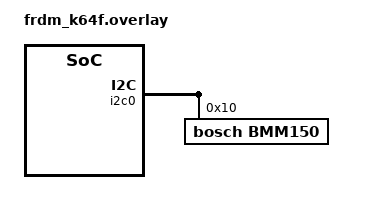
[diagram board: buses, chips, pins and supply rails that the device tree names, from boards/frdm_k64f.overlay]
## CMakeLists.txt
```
# SPDX-License-Identifier: Apache-2.0

cmake_minimum_required(VERSION 3.13.1)
find_package(Zephyr REQUIRED HINTS $ENV{ZEPHYR_BASE})
project(bmm150)

FILE(GLOB app_sources src/*.c)
target_sources(app PRIVATE ${app_sources})
```

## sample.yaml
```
sample:
  name: BMM150 Sensor Sample
tests:
  sample.sensor.bmm150:
    harness: sensor
    tags: sensors
    depends_on: gpio i2c
    filter: dt_compat_enabled("bosch,bmm150")
```

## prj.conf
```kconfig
CONFIG_STDOUT_CONSOLE=y
CONFIG_PRINTK=y
CONFIG_I2C=y
CONFIG_GPIO=y
CONFIG_SENSOR=y
CONFIG_BMM150=y
CONFIG_BMM150_SAMPLING_RATE_RUNTIME=y
CONFIG_CBPRINTF_FP_SUPPORT=y
```

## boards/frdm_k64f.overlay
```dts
/*
 * Copyright (c) 2019, Linaro Ltd.
 *
 * SPDX-License-Identifier: Apache-2.0
 */

&i2c0 {
	bmm150@10 {
		compatible = "bosch,bmm150";
		reg = <0x10>;
		label = "BMM150";
	};
};
```

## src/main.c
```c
/*
 * Copyright (c) 2017 Intel Corporation
 *
 * SPDX-License-Identifier: Apache-2.0
 */

#include <zephyr.h>
#include <device.h>
#include <sys/printk.h>
#include <drivers/sensor.h>
#include <stdio.h>

void do_main(const struct device *dev)
{
	int ret;
	struct sensor_value x, y, z;

	while (1) {
		ret = sensor_sample_fetch(dev);
		if (ret) {
			printk("sensor_sample_fetch failed ret %d\n", ret);
			return;
		}

		ret = sensor_channel_get(dev, SENSOR_CHAN_MAGN_X, &x);
		ret = sensor_channel_get(dev, SENSOR_CHAN_MAGN_Y, &y);
		ret = sensor_channel_get(dev, SENSOR_CHAN_MAGN_Z, &z);

		printf("( x y z ) = ( %f  %f  %f )\n",
				sensor_value_to_double(&x),
				sensor_value_to_double(&y),
				sensor_value_to_double(&z));

		k_sleep(K_MSEC(500));
	}
}

const struct device *sensor_search()
{
	static const char *const magn_sensor[] = { "BMM150", NULL };
	const struct device *dev;
	int i;

	i = 0;
	while (magn_sensor[i]) {
		dev = device_get_binding(magn_sensor[i]);
		if (dev) {
			printk("device binding\n");
			return dev;
		}

		++i;
	}
	return NULL;
}

void main(void)
{
	const struct device *dev;

	printk("BMM150 Geomagnetic sensor Application\n");

	dev = sensor_search();
	if (dev) {
		printk("Found device is %p, name is %s\n",
				dev, dev->name);
		do_main(dev);
	} else {
		printk("There is no available Geomagnetic device.\n");
	}
}
```
